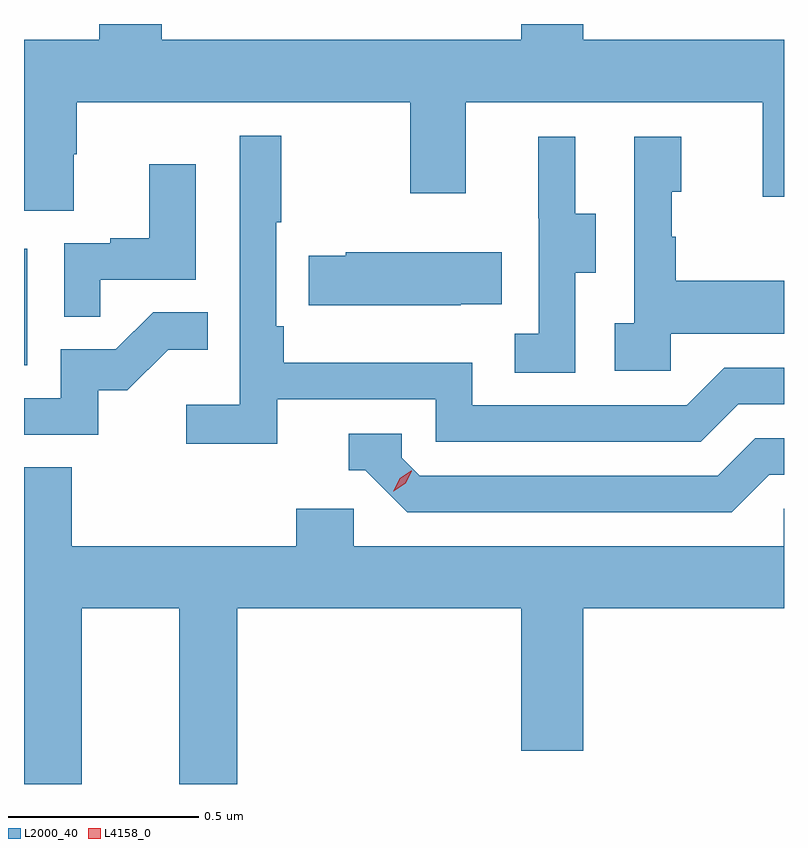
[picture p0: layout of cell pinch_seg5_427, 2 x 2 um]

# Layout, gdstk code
import gdstk
lib = gdstk.Library(unit=1e-6, precision=1e-09)
def R(c, l, rs):  # rectangles x0, y0, x1, y1
    for r in rs: c.add(gdstk.rectangle(r[:2], r[2:], *l))
def P(c, l, *ps):  # polygons
    for p in ps: c.add(gdstk.Polygon(p, *l))
L2000_40 = (2000, 40)
L4158_0 = (4158, 0)

pinch_seg5_427 = lib.new_cell('pinch_seg5_427')
R(pinch_seg5_427, L2000_40, [(966.896,864.06,966.904,864.367)])
P(pinch_seg5_427, L2000_40, [(968.84,864.504),(968.896,864.504),(968.896,864.916),(968.368,864.916),(968.368,864.958),(968.204,864.958),(968.204,864.916),(967.258,864.916),(967.258,864.958),(967.094,864.958),(967.094,864.916),(966.896,864.916),(966.896,864.466),(967.027,864.466),(967.027,864.615),(967.035,864.615),(967.035,864.752),(967.912,864.752),(967.912,864.513),(968.059,864.513),(968.059,864.752),(968.84,864.752)],
  [(967.562,863.97),(967.98,863.97),(967.98,863.859),(968.677,863.859),(968.776,863.958),(968.896,863.958),(968.896,864.054),(968.739,864.054),(968.64,863.955),(968.076,863.955),(968.076,864.067),(967.58,864.067),(967.58,864.163),(967.56,864.163),(967.56,864.436),(967.573,864.436),(967.573,864.664),(967.464,864.664),(967.464,863.956),(967.323,863.956),(967.323,863.854),(967.562,863.854)],
  [(968.598,864.143),(968.896,864.143),(968.896,864.283),(968.611,864.283),(968.611,864.398),(968.601,864.398),(968.601,864.516),(968.626,864.516),(968.626,864.661),(968.502,864.661),(968.502,864.17),(968.451,864.17),(968.451,864.045),(968.598,864.045)],
  [(968.346,864.304),(968.401,864.304),(968.401,864.459),(968.347,864.459),(968.347,864.661),(968.249,864.661),(968.249,864.447),(968.25,864.447),(968.25,864.143),(968.187,864.143),(968.187,864.04),(968.346,864.04)],
  [(967.097,864.285),(967.348,864.285),(967.348,864.589),(967.226,864.589),(967.226,864.394),(967.123,864.394),(967.123,864.381),(967.002,864.381),(967.002,864.187),(967.097,864.187)],
  [(968.045,864.221),(968.153,864.221),(968.153,864.358),(967.743,864.358),(967.743,864.348),(967.645,864.348),(967.645,864.218),(968.045,864.218)],
  [(967.092,863.994),(967.168,863.994),(967.275,864.101),(967.379,864.101),(967.379,864.2),(967.236,864.2),(967.138,864.102),(966.993,864.102),(966.993,863.973),(966.896,863.973),(966.896,863.877),(967.092,863.877)],
  [(968.857,863.772),(968.896,863.772),(968.896,863.868),(968.82,863.868),(968.721,863.769),(967.938,863.769),(967.89,863.817),(967.89,863.88),(967.751,863.88),(967.751,863.784),(967.794,863.784),(967.905,863.673),(968.758,863.673)],
  [(967.048,863.42),(967.304,863.42),(967.304,862.958),(967.457,862.958),(967.457,863.42),(968.204,863.42),(968.204,863.046),(968.368,863.046),(968.368,863.42),(968.896,863.42),(968.896,863.682),(968.895,863.682),(968.895,863.584),(967.764,863.584),(967.764,863.682),(967.613,863.682),(967.613,863.584),(967.022,863.584),(967.022,863.792),(966.896,863.792),(966.896,862.958),(967.048,862.958)])
P(pinch_seg5_427, L4158_0, [(967.868,863.729),(967.868,863.729),(967.885,863.762),(967.915,863.782),(967.916,863.782),(967.916,863.782),(967.9,863.749),(967.869,863.729)])

lib.write_gds('pinch_seg5_427.gds')
